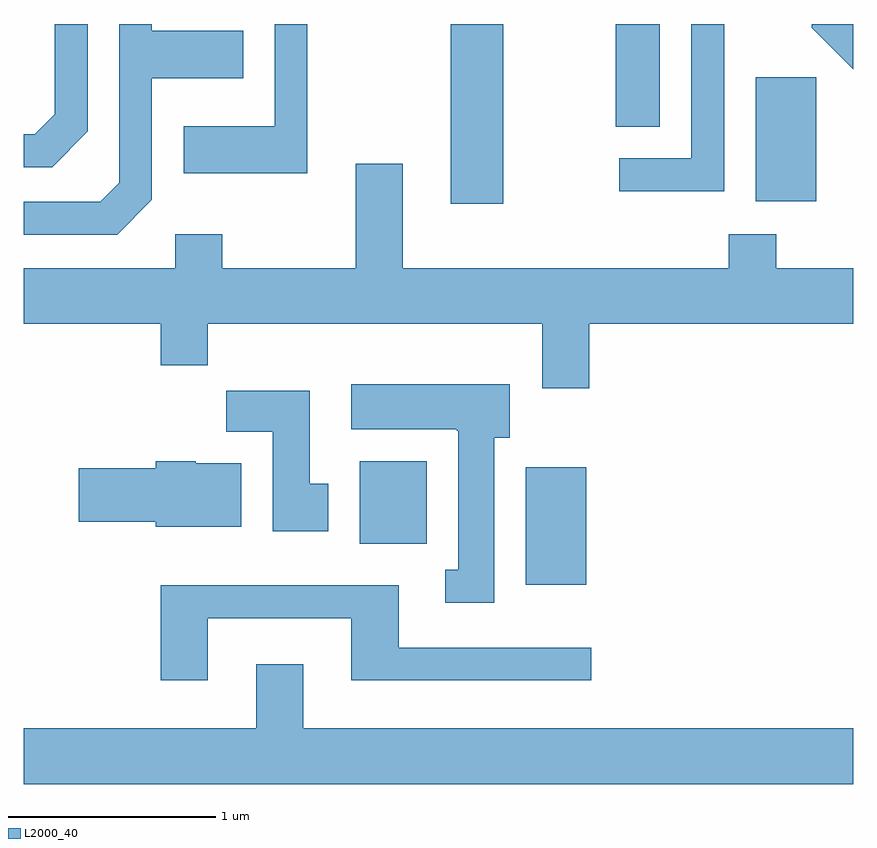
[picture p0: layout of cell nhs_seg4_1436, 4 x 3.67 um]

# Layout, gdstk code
import gdstk
lib = gdstk.Library(unit=1e-6, precision=1e-09)
def R(c, l, rs):  # rectangles x0, y0, x1, y1
    for r in rs: c.add(gdstk.rectangle(r[:2], r[2:], *l))
def P(c, l, *ps):  # polygons
    for p in ps: c.add(gdstk.Polygon(p, *l))
L2000_40 = (2000, 40)

nhs_seg4_1436 = lib.new_cell('nhs_seg4_1436')
R(nhs_seg4_1436, L2000_40, [(230.031,1271.276,230.324,1271.844), (229.231,1271.476,229.554,1271.874), (229.671,1273.116,229.924,1273.982), (231.141,1273.126,231.434,1273.724), (230.466,1273.486,230.679,1273.982)])
P(nhs_seg4_1436, L2000_40, [(228.229,1273.134),(228.229,1273.721),(228.669,1273.721),(228.669,1273.949),(228.229,1273.949),(228.229,1273.982),(228.071,1273.982),(228.071,1273.217),(227.979,1273.124),(227.611,1273.124),(227.611,1272.966),(228.062,1272.966)],
  [(228.979,1273.982),(228.821,1273.982),(228.821,1273.489),(228.381,1273.489),(228.381,1273.261),(228.979,1273.261)],
  [(231.611,1273.982),(231.411,1273.982),(231.411,1273.964),(231.611,1273.764)],
  [(230.989,1273.982),(230.831,1273.982),(230.831,1273.334),(230.483,1273.334),(230.483,1273.176),(230.989,1273.176)],
  [(227.919,1273.464),(227.919,1273.982),(227.761,1273.982),(227.761,1273.547),(227.664,1273.449),(227.611,1273.449),(227.611,1273.291),(227.747,1273.291)],
  [(230.339,1272.536),(231.611,1272.536),(231.611,1272.804),(231.239,1272.804),(231.239,1272.969),(231.011,1272.969),(231.011,1272.804),(229.439,1272.804),(229.439,1273.309),(229.211,1273.309),(229.211,1272.804),(228.569,1272.804),(228.569,1272.969),(228.341,1272.969),(228.341,1272.804),(227.611,1272.804),(227.611,1272.536),(228.271,1272.536),(228.271,1272.336),(228.499,1272.336),(228.499,1272.536),(230.111,1272.536),(230.111,1272.226),(230.339,1272.226)],
  [(229.879,1271.986),(229.954,1271.986),(229.954,1272.244),(229.191,1272.244),(229.191,1272.026),(229.7,1272.026),(229.7,1272.02),(229.706,1272.02),(229.706,1271.349),(229.643,1271.349),(229.643,1271.191),(229.879,1271.191)],
  [(229.079,1271.764),(228.989,1271.764),(228.989,1272.214),(228.586,1272.214),(228.586,1272.016),(228.811,1272.016),(228.811,1271.536),(229.079,1271.536)],
  [(228.659,1271.864),(228.44,1271.864),(228.44,1271.874),(228.246,1271.874),(228.246,1271.839),(227.876,1271.839),(227.876,1271.581),(228.246,1271.581),(228.246,1271.556),(228.659,1271.556)],
  [(228.499,1271.116),(229.191,1271.116),(229.191,1270.816),(230.348,1270.816),(230.348,1270.974),(229.419,1270.974),(229.419,1271.274),(228.271,1271.274),(228.271,1270.816),(228.499,1270.816)],
  [(231.611,1270.584),(228.959,1270.584),(228.959,1270.894),(228.731,1270.894),(228.731,1270.584),(227.611,1270.584),(227.611,1270.316),(231.611,1270.316)])

lib.write_gds('nhs_seg4_1436.gds')
